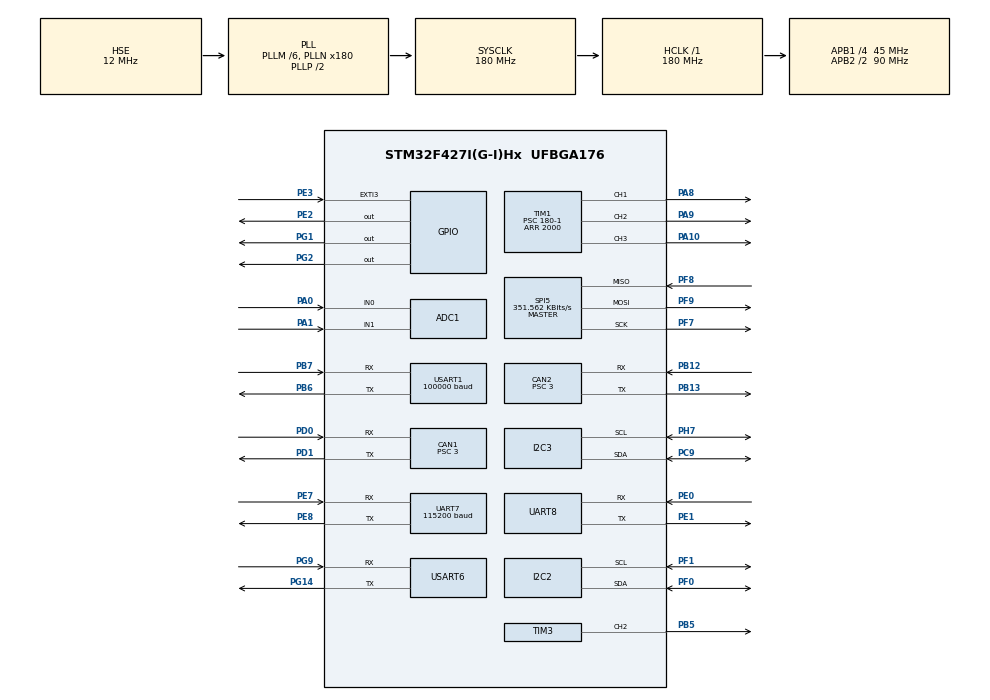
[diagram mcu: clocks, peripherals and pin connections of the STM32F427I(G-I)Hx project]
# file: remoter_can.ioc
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ADC1.Channel-0\#ChannelRegularConversion=ADC_CHANNEL_0
ADC1.Channel-1\#ChannelRegularConversion=ADC_CHANNEL_1
ADC1.ContinuousConvMode=ENABLE
ADC1.NbrOfConversion=2
ADC1.NbrOfConversionFlag=1
ADC1.Rank-0\#ChannelRegularConversion=1
ADC1.Rank-1\#ChannelRegularConversion=2
ADC1.SamplingTime-0\#ChannelRegularConversion=ADC_SAMPLETIME_28CYCLES
ADC1.SamplingTime-1\#ChannelRegularConversion=ADC_SAMPLETIME_56CYCLES
ADC1.ScanConvMode=ENABLE
ADC1.master=1
CAN1.ABOM=ENABLE
CAN1.BS1=CAN_BS1_11TQ
CAN1.BS2=CAN_BS2_3TQ
CAN1.CalculateBaudRate=1000000
CAN1.CalculateTimeBit=1000
CAN1.CalculateTimeQuantum=66.66666666666666
CAN1.Prescaler=3
CAN2.ABOM=ENABLE
CAN2.BS1=CAN_BS1_11TQ
CAN2.BS2=CAN_BS2_3TQ
CAN2.CalculateBaudRate=1000000
CAN2.CalculateTimeBit=1000
CAN2.CalculateTimeQuantum=66.66666666666666
CAN2.Prescaler=3
Dma.ADC1.3.Direction=DMA_PERIPH_TO_MEMORY
Dma.ADC1.3.FIFOMode=DMA_FIFOMODE_DISABLE
Dma.ADC1.3.Instance=DMA2_Stream0
Dma.ADC1.3.MemDataAlignment=DMA_MDATAALIGN_HALFWORD
Dma.ADC1.3.MemInc=DMA_MINC_ENABLE
Dma.ADC1.3.Mode=DMA_CIRCULAR
Dma.ADC1.3.PeriphDataAlignment=DMA_PDATAALIGN_HALFWORD
Dma.ADC1.3.PeriphInc=DMA_PINC_DISABLE
Dma.ADC1.3.Priority=DMA_PRIORITY_VERY_HIGH
Dma.Request0=USART1_RX
Dma.Request1=USART6_TX
Dma.Request2=UART8_RX
Dma.Request3=ADC1
Dma.Request4=UART7_RX
Dma.Request5=UART7_TX
Dma.Request6=USART6_RX
Dma.Request7=UART8_TX
Dma.UART7_RX.4.Direction=DMA_PERIPH_TO_MEMORY
Dma.UART7_RX.4.FIFOMode=DMA_FIFOMODE_DISABLE
Dma.UART7_RX.4.Instance=DMA1_Stream3
Dma.UART7_RX.4.MemDataAlignment=DMA_MDATAALIGN_BYTE
Dma.UART7_RX.4.MemInc=DMA_MINC_ENABLE
Dma.UART7_RX.4.Mode=DMA_NORMAL
Dma.UART7_RX.4.PeriphDataAlignment=DMA_PDATAALIGN_BYTE
Dma.UART7_RX.4.PeriphInc=DMA_PINC_DISABLE
Dma.UART7_RX.4.Priority=DMA_PRIORITY_LOW
Dma.UART7_TX.5.Direction=DMA_MEMORY_TO_PERIPH
Dma.UART7_TX.5.FIFOMode=DMA_FIFOMODE_DISABLE
Dma.UART7_TX.5.Instance=DMA1_Stream1
Dma.UART7_TX.5.MemDataAlignment=DMA_MDATAALIGN_BYTE
Dma.UART7_TX.5.MemInc=DMA_MINC_ENABLE
Dma.UART7_TX.5.Mode=DMA_NORMAL
Dma.UART7_TX.5.PeriphDataAlignment=DMA_PDATAALIGN_BYTE
Dma.UART7_TX.5.PeriphInc=DMA_PINC_DISABLE
Dma.UART7_TX.5.Priority=DMA_PRIORITY_LOW
Dma.UART8_RX.2.Direction=DMA_PERIPH_TO_MEMORY
Dma.UART8_RX.2.FIFOMode=DMA_FIFOMODE_DISABLE
Dma.UART8_RX.2.Instance=DMA1_Stream6
Dma.UART8_RX.2.MemDataAlignment=DMA_MDATAALIGN_BYTE
Dma.UART8_RX.2.MemInc=DMA_MINC_ENABLE
Dma.UART8_RX.2.Mode=DMA_CIRCULAR
Dma.UART8_RX.2.PeriphDataAlignment=DMA_PDATAALIGN_BYTE
Dma.UART8_RX.2.PeriphInc=DMA_PINC_DISABLE
Dma.UART8_RX.2.Priority=DMA_PRIORITY_VERY_HIGH
Dma.UART8_TX.7.Direction=DMA_MEMORY_TO_PERIPH
Dma.UART8_TX.7.FIFOMode=DMA_FIFOMODE_DISABLE
Dma.UART8_TX.7.Instance=DMA1_Stream0
Dma.UART8_TX.7.MemDataAlignment=DMA_MDATAALIGN_BYTE
Dma.UART8_TX.7.MemInc=DMA_MINC_ENABLE
Dma.UART8_TX.7.Mode=DMA_NORMAL
Dma.UART8_TX.7.PeriphDataAlignment=DMA_PDATAALIGN_BYTE
Dma.UART8_TX.7.PeriphInc=DMA_PINC_DISABLE
Dma.UART8_TX.7.Priority=DMA_PRIORITY_MEDIUM
Dma.USART1_RX.0.Direction=DMA_PERIPH_TO_MEMORY
Dma.USART1_RX.0.FIFOMode=DMA_FIFOMODE_DISABLE
Dma.USART1_RX.0.Instance=DMA2_Stream2
Dma.USART1_RX.0.MemDataAlignment=DMA_MDATAALIGN_BYTE
Dma.USART1_RX.0.MemInc=DMA_MINC_ENABLE
Dma.USART1_RX.0.Mode=DMA_CIRCULAR
Dma.USART1_RX.0.PeriphDataAlignment=DMA_PDATAALIGN_BYTE
Dma.USART1_RX.0.PeriphInc=DMA_PINC_DISABLE
Dma.USART1_RX.0.Priority=DMA_PRIORITY_HIGH
Dma.USART6_RX.6.Direction=DMA_PERIPH_TO_MEMORY
Dma.USART6_RX.6.FIFOMode=DMA_FIFOMODE_DISABLE
Dma.USART6_RX.6.Instance=DMA2_Stream1
Dma.USART6_RX.6.MemDataAlignment=DMA_MDATAALIGN_BYTE
Dma.USART6_RX.6.MemInc=DMA_MINC_ENABLE
Dma.USART6_RX.6.Mode=DMA_NORMAL
Dma.USART6_RX.6.PeriphDataAlignment=DMA_PDATAALIGN_BYTE
Dma.USART6_RX.6.PeriphInc=DMA_PINC_DISABLE
Dma.USART6_RX.6.Priority=DMA_PRIORITY_LOW
Dma.USART6_TX.1.Direction=DMA_MEMORY_TO_PERIPH
Dma.USART6_TX.1.FIFOMode=DMA_FIFOMODE_DISABLE
Dma.USART6_TX.1.Instance=DMA2_Stream6
Dma.USART6_TX.1.MemDataAlignment=DMA_MDATAALIGN_BYTE
Dma.USART6_TX.1.MemInc=DMA_MINC_ENABLE
Dma.USART6_TX.1.Mode=DMA_NORMAL
Dma.USART6_TX.1.PeriphDataAlignment=DMA_PDATAALIGN_BYTE
Dma.USART6_TX.1.PeriphInc=DMA_PINC_DISABLE
Dma.USART6_TX.1.Priority=DMA_PRIORITY_HIGH
FREERTOS.INCLUDE_eTaskGetState=1
FREERTOS.INCLUDE_vTaskDelayUntil=1
FREERTOS.Tasks01=defaultTask,-3,128,StartDefaultTask,Default,NULL,Dynamic,NULL,NULL;chassis,0,256,chassis_Task,As weak,NULL,Dynamic,NULL,NULL;gimbal,1,256,gimbal_Task,As weak,NULL,Dynamic,NULL,NULL;judgeSys,0,128,judgeSys_Task,As weak,NULL,Dynamic,NULL,NULL;visionSys,0,128,visionSys_Task,As weak,NULL,Dynamic,NULL,NULL;Moto_Shoot1,1,128,Moto_Shoot1_Task,As weak,NULL,Static,Moto_Shoot1Buffer,Moto_Shoot1ControlBlock;Moto_Shoot2,1,128,Moto_Shoot2_Task,As weak,NULL,Static,Moto_Shoot2Buffer,Moto_Shoot2ControlBlock;saveControl,0,128,saveControl_Task,As weak,NULL,Dynamic,NULL,NULL;IMU,0,128,IMU_Task,As weak,NULL,Dynamic,NULL,NULL
FREERTOS.Timers01=safer,saferStart,osTimerPeriodic,As weak,NULL,Dynamic,NULL
FREERTOS.configUSE_TIMERS=1
I2C2.I2C_Mode=I2C_Fast
I2C3.I2C_Mode=I2C_Fast
Mcu.Family=STM32F4
Mcu.Name=STM32F427I(G-I)Hx
Mcu.Package=UFBGA176
NVIC.CAN1_RX0_IRQn=true\:5\:0\:false\:false\:true\:true\:true\:true\:true
NVIC.CAN2_RX0_IRQn=true\:5\:0\:false\:false\:true\:true\:true\:true\:true
NVIC.DMA1_Stream0_IRQn=true\:5\:0\:false\:false\:true\:true\:false\:true\:true
NVIC.DMA1_Stream1_IRQn=true\:5\:0\:false\:false\:true\:true\:false\:true\:true
NVIC.DMA1_Stream3_IRQn=true\:5\:0\:false\:false\:true\:true\:false\:true\:true
NVIC.DMA1_Stream6_IRQn=true\:5\:0\:false\:false\:true\:true\:false\:true\:true
NVIC.DMA2_Stream0_IRQn=true\:5\:0\:false\:false\:true\:true\:false\:true\:true
NVIC.DMA2_Stream1_IRQn=true\:5\:0\:false\:false\:true\:true\:false\:true\:true
NVIC.DMA2_Stream2_IRQn=true\:5\:0\:false\:false\:true\:true\:false\:true\:true
NVIC.DMA2_Stream6_IRQn=true\:5\:0\:false\:false\:true\:true\:false\:true\:true
NVIC.PriorityGroup=NVIC_PRIORITYGROUP_4
NVIC.TIM2_IRQn=true\:15\:0\:false\:false\:true\:false\:false\:true\:true
NVIC.TimeBase=TIM2_IRQn
NVIC.TimeBaseIP=TIM2
NVIC.USART1_IRQn=true\:5\:0\:false\:false\:true\:true\:true\:true\:true
PA0/WKUP.Signal=ADCx_IN0
PA1.Signal=ADCx_IN1
PA10.Signal=S_TIM1_CH3
PA13.Mode=Serial_Wire
PA13.Signal=SYS_JTMS-SWDIO
PA14.Mode=Serial_Wire
PA14.Signal=SYS_JTCK-SWCLK
PA8.Signal=S_TIM1_CH1
PA9.Signal=S_TIM1_CH2
PB12.Mode=CAN_Activate
PB12.Signal=CAN2_RX
PB13.Mode=CAN_Activate
PB13.Signal=CAN2_TX
PB5.Signal=S_TIM3_CH2
PB6.Mode=Asynchronous
PB6.Signal=USART1_TX
PB7.Mode=Asynchronous
PB7.Signal=USART1_RX
PC9.Mode=I2C
PC9.Signal=I2C3_SDA
PD0.Mode=CAN_Activate
PD0.Signal=CAN1_RX
PD1.Mode=CAN_Activate
PD1.Signal=CAN1_TX
PE0.Mode=Asynchronous
PE0.Signal=UART8_RX
PE1.Mode=Asynchronous
PE1.Signal=UART8_TX
PE2.GPIO_PuPd=GPIO_PULLUP
PE2.Signal=GPIO_Output
PE3.Signal=GPXTI3
PE7.Mode=Asynchronous
PE7.Signal=UART7_RX
PE8.Mode=Asynchronous
PE8.Signal=UART7_TX
PF0.Mode=I2C
PF0.Signal=I2C2_SDA
PF1.Mode=I2C
PF1.Signal=I2C2_SCL
PF7.Mode=Full_Duplex_Master
PF7.Signal=SPI5_SCK
PF8.Mode=Full_Duplex_Master
PF8.Signal=SPI5_MISO
PF9.Mode=Full_Duplex_Master
PF9.Signal=SPI5_MOSI
PG1.Signal=GPIO_Output
PG14.Mode=Asynchronous
PG14.Signal=USART6_TX
PG2.Signal=GPIO_Output
PG9.Mode=Asynchronous
PG9.Signal=USART6_RX
PH0/OSC_IN.Mode=HSE-External-Oscillator
PH0/OSC_IN.Signal=RCC_OSC_IN
PH1/OSC_OUT.Mode=HSE-External-Oscillator
PH1/OSC_OUT.Signal=RCC_OSC_OUT
PH7.Mode=I2C
PH7.Signal=I2C3_SCL
ProjectManager.HeapSize=0x200
ProjectManager.StackSize=0x400
ProjectManager.TargetToolchain=MDK-ARM V5
RCC.48MHZClocksFreq_Value=90000000
RCC.AHBFreq_Value=180000000
RCC.APB1CLKDivider=RCC_HCLK_DIV4
RCC.APB1Freq_Value=45000000
RCC.APB1TimFreq_Value=90000000
RCC.APB2CLKDivider=RCC_HCLK_DIV2
RCC.APB2Freq_Value=90000000
RCC.APB2TimFreq_Value=180000000
RCC.CortexFreq_Value=180000000
RCC.HCLKFreq_Value=180000000
RCC.HSE_VALUE=12000000
RCC.HSI_VALUE=16000000
RCC.LSE_VALUE=32768
RCC.PLLM=6
RCC.PLLN=180
RCC.PLLSourceVirtual=RCC_PLLSOURCE_HSE
RCC.SYSCLKFreq_VALUE=180000000
RCC.SYSCLKSource=RCC_SYSCLKSOURCE_PLLCLK
RCC.VCOOutputFreq_Value=360000000
SH.ADCx_IN0.0=ADC1_IN0,IN0
SH.ADCx_IN1.0=ADC1_IN1,IN1
SH.S_TIM1_CH1.0=TIM1_CH1,PWM Generation1 CH1
SH.S_TIM1_CH2.0=TIM1_CH2,PWM Generation2 CH2
SH.S_TIM1_CH3.0=TIM1_CH3,PWM Generation3 CH3
SH.S_TIM3_CH2.0=TIM3_CH2,PWM Generation2 CH2
SPI5.BaudRatePrescaler=SPI_BAUDRATEPRESCALER_256
SPI5.CLKPhase=SPI_PHASE_2EDGE
SPI5.CLKPolarity=SPI_POLARITY_HIGH
SPI5.CalculateBaudRate=351.562 KBits/s
SPI5.Direction=SPI_DIRECTION_2LINES
SPI5.FirstBit=SPI_FIRSTBIT_MSB
SPI5.Mode=SPI_MODE_MASTER
SPI5.VirtualType=VM_MASTER
TIM1.Channel-PWM\ Generation1\ CH1=TIM_CHANNEL_1
TIM1.Channel-PWM\ Generation2\ CH2=TIM_CHANNEL_2
TIM1.Channel-PWM\ Generation3\ CH3=TIM_CHANNEL_3
TIM1.Period=2000
TIM1.Prescaler=180-1
TIM3.Channel-PWM\ Generation2\ CH2=TIM_CHANNEL_2
TIM3.Period=2000
TIM3.Prescaler=180-1
UART7.BaudRate=115200
UART7.VirtualMode=Asynchronous
UART8.VirtualMode=Asynchronous
USART1.BaudRate=100000
USART1.Parity=PARITY_EVEN
USART1.VirtualMode=VM_ASYNC
USART1.WordLength=WORDLENGTH_8B
USART6.VirtualMode=VM_ASYNC
VP_FREERTOS_VS_CMSIS_V1.Mode=CMSIS_V1
VP_SYS_VS_tim2.Mode=TIM2
VP_TIM1_VS_ClockSourceINT.Mode=Internal
VP_TIM3_VS_ClockSourceINT.Mode=Internal
board=custom

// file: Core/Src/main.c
/* USER CODE BEGIN Header */
/**
  ******************************************************************************
  * @file           : main.c
  * @brief          : Main program body
  ******************************************************************************
  * @attention
  *
  * Copyright (c) 2022 STMicroelectronics.
  * All rights reserved.
  *
  * This software is licensed under terms that can be found in the LICENSE file
  * in the root directory of this software component.
  * If no LICENSE file comes with this software, it is provided AS-IS.
  *
  ******************************************************************************
  */
  /* USER CODE END Header */
  /* Includes ------------------------------------------------------------------*/
#include "main.h"
#include "cmsis_os.h"
#include "adc.h"
#include "can.h"
#include "dma.h"
#include "i2c.h"
#include "spi.h"
#include "tim.h"
#include "usart.h"
#include "gpio.h"

/* USER CODE BEGIN Includes */
#include <stdarg.h>
#include "canmotor.h"
#include "remoter.h"
#include "pid.h"
#include <stdio.h>
#include "judgeSys.h"
#include "tool.h"
#include "Vision.h"
#include "heat.h"
#include "bsp_imu.h"
#include "delay.h"
#include "timerAll.h"
//#include "direction.h"
/* USER CODE END Includes */

/* USER CODE BEGIN PTD */

extern  float out1, out2, out3, out4;
extern int motorval1, motorval2, motorval3, motorval4, motorvalleft, motorvalright;

extern uint8_t  Com4_Vision_Buffer[VISION_BUFFER_LENGTH];

uint16_t abc[2] = { 0 };
/* USER CODE END PTD */

void SystemClock_Config(void);
void MX_FREERTOS_Init(void);

/* USER CODE BEGIN 0 */
//void HAL_CAN_RxFifo0MsgPendingCallback(CAN_HandleTypeDef *hcan);//加入的代�????????2
/* USER CODE END 0 */

int main(void)
   {
  /* USER CODE BEGIN 1 */
  uint16_t i;
  /* USER CODE END 1 */

  /* MCU Configuration--------------------------------------------------------*/

  /* Reset of all peripherals, Initializes the Flash interface and the Systick. */
  HAL_Init();

  /* Configure the system clock */
  SystemClock_Config();

  /* Initialize all configured peripherals */
  MX_GPIO_Init();
  MX_DMA_Init();
  MX_CAN1_Init();
  MX_USART1_UART_Init();
  MX_USART6_UART_Init();
  MX_TIM1_Init();
  MX_UART8_Init();
  MX_ADC1_Init();
  MX_I2C3_Init();
  MX_SPI5_Init();
  MX_I2C2_Init();
  MX_TIM3_Init();
  MX_CAN2_Init();
  MX_UART7_Init();
  /* USER CODE BEGIN 2 */
  void delay_init(void);
  //__HAL_UART_ENABLE_IT(&huart8,UART_IT_RXNE);
  __HAL_UART_ENABLE_IT(&huart8, UART_IT_IDLE);
  HAL_TIM_Base_Start_IT(&htim1);
  HAL_TIM_Base_Start_IT(&htim3);
  HAL_TIM_PWM_Start(&htim1, TIM_CHANNEL_1);
  HAL_TIM_PWM_Start(&htim1, TIM_CHANNEL_2);
  HAL_TIM_PWM_Start(&htim1, TIM_CHANNEL_3);
  HAL_TIM_PWM_Start(&htim1, TIM_CHANNEL_4);
  HAL_TIM_PWM_Start(&htim3, TIM_CHANNEL_2);

  dbus_uart_init();

  can_filter_init();  //
  can2_filter_init();
  HAL_CAN_RxFifo0MsgPendingCallback(&hcan1);
  HAL_CAN_RxFifo0MsgPendingCallback(&hcan2);
  HAL_CAN_ActivateNotification(&hcan1, CAN_IT_RX_FIFO0_MSG_PENDING);    //
  HAL_CAN_ActivateNotification(&hcan2, CAN_IT_RX_FIFO0_MSG_PENDING);
  HAL_UART_Receive_DMA(&huart6, Com4_Vision_Buffer, VISION_BUFFER_LENGTH);
  __HAL_TIM_SetCompare(&htim1, TIM_CHANNEL_1, 600);
  __HAL_TIM_SetCompare(&htim1, TIM_CHANNEL_2, 600);
  CANx_SendStdData(&hcan1, 0x206, Data_Failure, 8);
  HAL_Delay(100);
  mpu_device_init();
  can5FIFO_flag = 1;
  init_quaternion();
  //	ist8310_init();

  // CANx_SendStdData(&hcan1, 0x206, Data_Save_zero, 8);
  HAL_UART_Receive_DMA(&huart8, judgment_System_Signal_Buffer, JUDGEMENT_SIZE);
  HAL_Delay(5000);

  mpu_get_data();
  imu_ahrs_update();
  imu_attitude_update();
  while (imu.temp < 40.0f)
  {
    mpu_get_data();
    imu_ahrs_update();
    imu_attitude_update();
    heat_gyro(2885.0f, 0.0f, 288.4f);
    // heat_gyro(1400.0f, 0.0f, 88.4f);
    HAL_Delay(1);
  }
  for (i = 1; i <= 1000; i++)
  {
    mpu_get_data();
    imu_ahrs_update();
    imu_attitude_update();
    heat_gyro(2885.0f, 0.0f, 288.4f);
    // heat_gyro(1400.0f, 0.0f, 88.4f);
    communication_Read_Data(judgment_System_handle_buffer);
    HAL_Delay(1);
  }

  CANx_SendStdData(&hcan1, 0x206, Data_Enable, 8);
  HAL_Delay(1);
  i = 0;
    // while (can5FIFO_flag == 1 || robot_status.robot_id == 0)
  while (can5FIFO_flag == 1)
  {
    if (i++ > 100)
    {
      CANx_SendStdData(&hcan1, 0x206, Data_Enable, 8);
      i = 0;
      communication_Read_Data(judgment_System_handle_buffer);
    }

    mpu_get_data();
    imu_ahrs_update();
    imu_attitude_update();
    heat_gyro(2885.0f, 0.0f, 288.4f);
    // heat_gyro(1400.0f, 0.0f, 88.4f);
    HAL_Delay(1);
  }
  // for (i = 1; i <= 1000; i++)
  // {
  //   mpu_get_data();
  //   imu_ahrs_update();
  //   imu_attitude_update();
  //   heat_gyro(2885.0f, 0.0f, 288.4f);
  //   // heat_gyro(2400.0f, 0.0f, 88.4f);
  //   w_gyro += imu.wz;
  //   HAL_Delay(1);
  // }
  // w_gyro /= 1000;

  /* USER CODE END 2 */

  /* Call init function for freertos objects (in freertos.c) */
  MX_FREERTOS_Init();

  /* Start scheduler */
  osKernelStart();
  /* We should never get here as control is now taken by the scheduler */
  /* Infinite loop */
  while (1)
  {

  }
}

void SystemClock_Config(void)
{
  RCC_OscInitTypeDef RCC_OscInitStruct = { 0 };
  RCC_ClkInitTypeDef RCC_ClkInitStruct = { 0 };

  /** Configure the main internal regulator output voltage
  */
  __HAL_RCC_PWR_CLK_ENABLE();
  __HAL_PWR_VOLTAGESCALING_CONFIG(PWR_REGULATOR_VOLTAGE_SCALE1);

  /** Initializes the RCC Oscillators according to the specified parameters
  * in the RCC_OscInitTypeDef structure.
  */
  RCC_OscInitStruct.OscillatorType = RCC_OSCILLATORTYPE_HSE;
  RCC_OscInitStruct.HSEState = RCC_HSE_ON;
  RCC_OscInitStruct.PLL.PLLState = RCC_PLL_ON;
  RCC_OscInitStruct.PLL.PLLSource = RCC_PLLSOURCE_HSE;
  RCC_OscInitStruct.PLL.PLLM = 6;
  RCC_OscInitStruct.PLL.PLLN = 180;
  RCC_OscInitStruct.PLL.PLLP = RCC_PLLP_DIV2;
  RCC_OscInitStruct.PLL.PLLQ = 4;
  if (HAL_RCC_OscConfig(&RCC_OscInitStruct) != HAL_OK)
  {
    Error_Handler();
  }

  /** Activate the Over-Drive mode
  */
  if (HAL_PWREx_EnableOverDrive() != HAL_OK)
  {
    Error_Handler();
  }

  /** Initializes the CPU, AHB and APB buses clocks
  */
  RCC_ClkInitStruct.ClockType = RCC_CLOCKTYPE_HCLK | RCC_CLOCKTYPE_SYSCLK
    | RCC_CLOCKTYPE_PCLK1 | RCC_CLOCKTYPE_PCLK2;
  RCC_ClkInitStruct.SYSCLKSource = RCC_SYSCLKSOURCE_PLLCLK;
  RCC_ClkInitStruct.AHBCLKDivider = RCC_SYSCLK_DIV1;
  RCC_ClkInitStruct.APB1CLKDivider = RCC_HCLK_DIV4;
  RCC_ClkInitStruct.APB2CLKDivider = RCC_HCLK_DIV2;

  if (HAL_RCC_ClockConfig(&RCC_ClkInitStruct, FLASH_LATENCY_5) != HAL_OK)
  {
    Error_Handler();
  }
}

void HAL_TIM_PeriodElapsedCallback(TIM_HandleTypeDef *htim)
{
  if (htim->Instance == TIM2) {
    HAL_IncTick();
  }
  /* USER CODE BEGIN Callback 1 */
  TIM_Self_CallBack(htim);
  /* USER CODE END Callback 1 */
}

void Error_Handler(void)
{
  __disable_irq();
  while (1)
  {
  }
}

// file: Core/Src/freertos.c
/* USER CODE BEGIN Header */
/**
  ******************************************************************************
  * File Name          : freertos.c
  * Description        : Code for freertos applications
  ******************************************************************************
  * @attention
  *
  * Copyright (c) 2023 STMicroelectronics.
  * All rights reserved.
  *
  * This software is licensed under terms that can be found in the LICENSE file
  * in the root directory of this software component.
  * If no LICENSE file comes with this software, it is provided AS-IS.
  *
  ******************************************************************************
  */
/* USER CODE END Header */

#include "FreeRTOS.h"
#include "task.h"
#include "main.h"
#include "cmsis_os.h"

/* USER CODE BEGIN Includes */

#include "pid.h"
#include "canmotor.h"

#include "gpio.h"
#include "usart.h"
#include "tool.h"
#include "Vision.h"
#include "tim.h"
#include "bsp_imu.h"

#include "judgeSys.h"

extern imu_t  imu;
/* USER CODE END Includes */

/* USER CODE BEGIN PM */
extern  float out1, out2, out3, out4;
extern int motorval1, motorval2, motorval3, motorval4, motorvalleft, motorvalright;
extern int shangdan;
extern float out5_1, out5_1_2;

extern int yval, bzw5, bzw6, outyaw, outpit;

//int w=1;
//int v=2;
const uint8_t c[1] = { 12 };
/* USER CODE END PM */

osThreadId defaultTaskHandle;
osThreadId chassisHandle;
osThreadId gimbalHandle;
osThreadId judgeSysHandle;
osThreadId visionSysHandle;
osThreadId Moto_Shoot1Handle;
uint32_t Moto_Shoot1Buffer[ 128 ];
osStaticThreadDef_t Moto_Shoot1ControlBlock;
osThreadId Moto_Shoot2Handle;
uint32_t Moto_Shoot2Buffer[ 128 ];
osStaticThreadDef_t Moto_Shoot2ControlBlock;
osThreadId saveControlHandle;
osThreadId IMUHandle;
osTimerId saferHandle;

void StartDefaultTask(void const * argument);
void chassis_Task(void const * argument);
void gimbal_Task(void const * argument);
void judgeSys_Task(void const * argument);
void visionSys_Task(void const * argument);
void Moto_Shoot1_Task(void const * argument);
void Moto_Shoot2_Task(void const * argument);
void saveControl_Task(void const * argument);
void IMU_Task(void const * argument);
void saferStart(void const * argument);

void MX_FREERTOS_Init(void); /* (MISRA C 2004 rule 8.1) */

/* GetIdleTaskMemory prototype (linked to static allocation support) */
void vApplicationGetIdleTaskMemory( StaticTask_t **ppxIdleTaskTCBBuffer, StackType_t **ppxIdleTaskStackBuffer, uint32_t *pulIdleTaskStackSize );

/* GetTimerTaskMemory prototype (linked to static allocation support) */
void vApplicationGetTimerTaskMemory( StaticTask_t **ppxTimerTaskTCBBuffer, StackType_t **ppxTimerTaskStackBuffer, uint32_t *pulTimerTaskStackSize );

/* USER CODE BEGIN GET_IDLE_TASK_MEMORY */
static StaticTask_t xIdleTaskTCBBuffer;
static StackType_t xIdleStack[configMINIMAL_STACK_SIZE];

void vApplicationGetIdleTaskMemory(StaticTask_t** ppxIdleTaskTCBBuffer, StackType_t** ppxIdleTaskStackBuffer, uint32_t* pulIdleTaskStackSize)
{
    *ppxIdleTaskTCBBuffer = &xIdleTaskTCBBuffer;
    *ppxIdleTaskStackBuffer = &xIdleStack[0];
    *pulIdleTaskStackSize = configMINIMAL_STACK_SIZE;
    /* place for user code */
}
/* USER CODE END GET_IDLE_TASK_MEMORY */

/* USER CODE BEGIN GET_TIMER_TASK_MEMORY */
static StaticTask_t xTimerTaskTCBBuffer;
static StackType_t xTimerStack[configTIMER_TASK_STACK_DEPTH];

void vApplicationGetTimerTaskMemory( StaticTask_t **ppxTimerTaskTCBBuffer, StackType_t **ppxTimerTaskStackBuffer, uint32_t *pulTimerTaskStackSize )
{
  *ppxTimerTaskTCBBuffer = &xTimerTaskTCBBuffer;
  *ppxTimerTaskStackBuffer = &xTimerStack[0];
  *pulTimerTaskStackSize = configTIMER_TASK_STACK_DEPTH;
  /* place for user code */
}
/* USER CODE END GET_TIMER_TASK_MEMORY */

void MX_FREERTOS_Init(void) {

  /* Create the timer(s) */
  /* definition and creation of safer */
  osTimerDef(safer, saferStart);
  saferHandle = osTimerCreate(osTimer(safer), osTimerPeriodic, NULL);

  /* Create the thread(s) */
  /* definition and creation of defaultTask */
  osThreadDef(defaultTask, StartDefaultTask, osPriorityIdle, 0, 128);
  defaultTaskHandle = osThreadCreate(osThread(defaultTask), NULL);

  /* definition and creation of chassis */
  osThreadDef(chassis, chassis_Task, osPriorityNormal, 0, 256);
  chassisHandle = osThreadCreate(osThread(chassis), NULL);

  /* definition and creation of gimbal */
  osThreadDef(gimbal, gimbal_Task, osPriorityAboveNormal, 0, 256);
  gimbalHandle = osThreadCreate(osThread(gimbal), NULL);

  /* definition and creation of judgeSys */
  osThreadDef(judgeSys, judgeSys_Task, osPriorityNormal, 0, 128);
  judgeSysHandle = osThreadCreate(osThread(judgeSys), NULL);

  /* definition and creation of visionSys */
  osThreadDef(visionSys, visionSys_Task, osPriorityNormal, 0, 128);
  visionSysHandle = osThreadCreate(osThread(visionSys), NULL);

  /* definition and creation of Moto_Shoot1 */
  osThreadStaticDef(Moto_Shoot1, Moto_Shoot1_Task, osPriorityAboveNormal, 0, 128, Moto_Shoot1Buffer, &Moto_Shoot1ControlBlock);
  Moto_Shoot1Handle = osThreadCreate(osThread(Moto_Shoot1), NULL);

  /* definition and creation of Moto_Shoot2 */
  osThreadStaticDef(Moto_Shoot2, Moto_Shoot2_Task, osPriorityAboveNormal, 0, 128, Moto_Shoot2Buffer, &Moto_Shoot2ControlBlock);
  Moto_Shoot2Handle = osThreadCreate(osThread(Moto_Shoot2), NULL);

  /* definition and creation of saveControl */
  osThreadDef(saveControl, saveControl_Task, osPriorityNormal, 0, 128);
  saveControlHandle = osThreadCreate(osThread(saveControl), NULL);

  /* definition and creation of IMU */
  osThreadDef(IMU, IMU_Task, osPriorityNormal, 0, 128);
  IMUHandle = osThreadCreate(osThread(IMU), NULL);

}

void StartDefaultTask(void const * argument)
{
  /* USER CODE BEGIN StartDefaultTask */
  osDelay(100);
    /* Infinite loop */
    for (;;)
    {
        osDelay(1);
    }
  /* USER CODE END StartDefaultTask */
}

__weak void chassis_Task(void const * argument)
{
  for(;;)
  {
    osDelay(1);
  }
}

__weak void gimbal_Task(void const * argument)
{
  for(;;)
  {
    osDelay(1);
  }
}

__weak void judgeSys_Task(void const * argument)
{
  for(;;)
  {
    osDelay(1);
  }
}

__weak void visionSys_Task(void const * argument)
{
  for(;;)
  {
    osDelay(1);
  }
}

__weak void Moto_Shoot1_Task(void const * argument)
{
  for(;;)
  {
    osDelay(1);
  }
}

__weak void Moto_Shoot2_Task(void const * argument)
{
  for(;;)
  {
    osDelay(1);
  }
}

__weak void saveControl_Task(void const * argument)
{
  for(;;)
  {
    osDelay(1);
  }
}

__weak void IMU_Task(void const * argument)
{
  for(;;)
  {
    osDelay(1);
  }
}

/* saferStart function */
__weak void saferStart(void const * argument)
{
}
